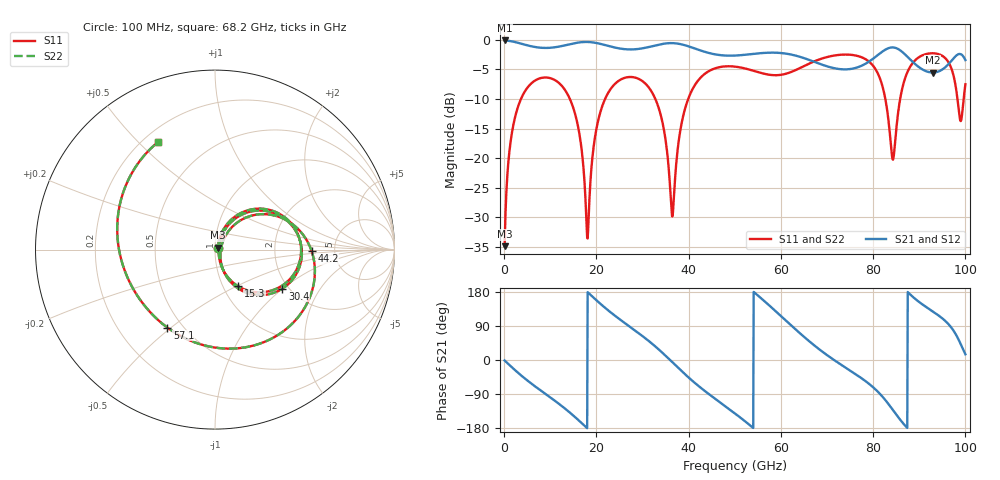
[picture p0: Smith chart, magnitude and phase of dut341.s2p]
! Touchstone file exported from HFSS 2026.1.0
!  File:  C:/ffzhzh/LocalFiles/Ansys_Project_Files/temp_train_TSV_RDL_341_1783706460_45496.aedt
!  Generated:  02:20:03 AM Jul 11, 2026
!  Design:  TSV_RDL
!  Project:  temp_train_TSV_RDL_341_1783706460_45496
! Variables:
!  h_bsmrdl = 4.26um
!  h_ox = 20um
!  h_rdl = 5um
!  h_sub = 77.78um
!  h_tmrdl = 4.01um
!  h_tsv = 77.78um
!  h_via = 3um
!  l_bsmrdl = 398.76um
!  l_sub = 3206.56um
!  l_tmrdl = 373.32um
!  m_sub = 200um
!  pitch = 48.6um
!  r_tsv = 13.19um
!  s_tmrdl = 10um
!  w_bsmrdl = 11.74um
!  w_sub = 500um
!  w_tmrdl = 27.26um
!  x_tsv_center1 = 386.95um
!  x_tsv_center2 = 797.45um
!  x_tsv_center3 = 1198.03um
!  x_tsv_center4 = 1608.53um
!  x_tsv_center5 = 2009.11um
!  x_tsv_center6 = 2419.61um
# GHz S MA R 50.000000
! Terminal data exported
! Port[1] = TM_RDL1_1_T1
! Port[2] = TM_RDL5_1_T1
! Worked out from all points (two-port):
!   1000 points, 100 MHz to 100 GHz, reference 50 ohm
!   highest |S21| = -0.13 dB at 100 MHz (marker M1); lowest = -5.5 dB at 92.9 GHz (marker M2)
!   |S21| within 3 dB of the highest: start of sweep to 65.1 GHz; 80.13 GHz to 87.76 GHz (7.634 GHz wide, 9.09 % of centre) (the widest 2 of 3)
!   lowest |S11| = -34.9 dB at 100 MHz (marker M3), VSWR 1.04, Z = 51.5 + j1.09 ohm
!   |S11| at or under -10 dB: start of sweep to 3.649 GHz; 14.25 GHz to 21.88 GHz (7.635 GHz wide, 42.3 % of centre); 32.78 GHz to 39.9 GHz (7.127 GHz wide, 19.6 % of centre) (the widest 3 of 5)
!   |S22| runs from -34.9 to -2.3 dB; largest |S21 - S12| = 1.6e-14
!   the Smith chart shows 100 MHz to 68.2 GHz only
!   S11 on the Smith chart (normalised r, x): 100 MHz: 1.03, +0.02; 15.3 GHz: 1.18, -0.51; 30.4 GHz: 1.85, -0.99; 44.2 GHz: 3.33, -0.06; 57.1 GHz: 0.41, -0.49; 68.2 GHz: 0.26, +0.57
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0.1  0.01809 35.7  0.9855 -1.2  0.9855 -1.2  0.01809 35.7
! Gamma 0 0 0 0
! Port Impedance 50 0 50 0
1.6  0.156 64.8  0.9692 -18.4  0.9692 -18.4  0.156 64.8
4.5  0.3666 37.7  0.9077 -48.9  0.9077 -48.9  0.3666 37.7
15.3  0.2427 -57.6  0.9348 -149.9  0.9348 -149.9  0.2426 -57.6
16.8  0.1181 -68.4  0.9534 -166.3  0.9534 -166.3  0.1181 -68.4
18.1  0.021 7.3  0.9568 179.0  0.9568 179.0  0.02097 7.4
21.8  0.3109 44.0  0.9027 138.6  0.9027 138.6  0.3109 44.0
30.4  0.4339 -30.1  0.8515 59.4  0.8515 59.4  0.4339 -30.1
33.4  0.2732 -56.8  0.906 29.1  0.906 29.1  0.2732 -56.8
36.5  0.03227 0.2  0.9355 -6.2  0.9355 -6.2  0.03247 0.2
39.2  0.26 44.8  0.898 -37.5  0.898 -37.5  0.2601 44.7
44.2  0.5378 -0.7  0.7759 -88.3  0.7759 -88.3  0.5379 -0.7
50.1  0.5922 -51.8  0.7349 -141.6  0.7349 -141.6  0.5923 -51.8
57.1  0.509 -121.4  0.7763 148.1  0.7763 148.1  0.5091 -121.4
66.7  0.6428 132.1  0.6626 43.9  0.6626 43.9  0.6429 132.2
68.2  0.6788 117.7  0.6302 29.3  0.6302 29.3  0.6789 117.7
78.2  0.6904 37.9  0.6223 -54.4  0.6223 -54.4  0.6905 37.8
83.4  0.196 0.1  0.8505 -117.4  0.8505 -117.4  0.1958 -0.0
86.4  0.4007 91.1  0.7833 -165.6  0.7833 -165.6  0.4005 91.1
92.9  0.7685 38.0  0.5283 128.4  0.5283 128.4  0.7685 38.0
97.8  0.4244 0.8  0.7212 70.2  0.7212 70.2  0.4241 0.7
100  0.421 73.5  0.673 15.1  0.673 15.1  0.4208 73.6
